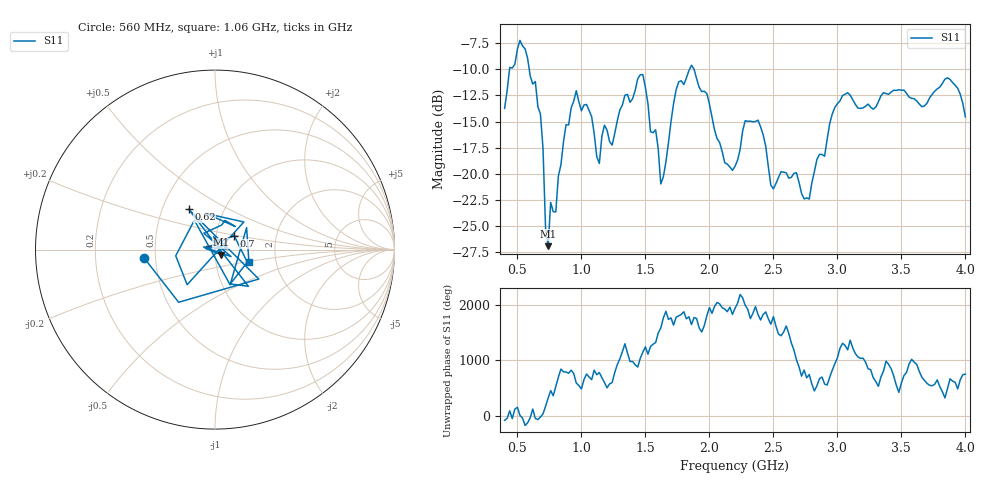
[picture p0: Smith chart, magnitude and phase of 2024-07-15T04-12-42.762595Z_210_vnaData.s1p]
!Created with skrf (http://scikit-rf.org).
# Hz S RI R 50.0
!freq ReS11 ImS11
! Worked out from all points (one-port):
!   181 points, 400 MHz to 4 GHz, reference 50 ohm
!   lowest |S11| = -27.0 dB at 740 MHz (marker M1), VSWR 1.09, Z = 53.5 - j3.03 ohm
!   |S11| at or under -10 dB: start of sweep to 438.3 MHz; 592.5 MHz to 1.845 GHz (1.252 GHz wide, 103 % of centre); 1.88 GHz to end of sweep
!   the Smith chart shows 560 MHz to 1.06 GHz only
!   S11 on the Smith chart (normalised r, x): 560 MHz: 0.43, -0.05; 620 MHz: 0.68, +0.33; 700 MHz: 1.22, +0.19; 1.06 GHz: 1.45, -0.20
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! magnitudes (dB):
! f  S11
! 400 MHz  -13.7
! 440 MHz  -9.8
! 560 MHz  -8.0
! 620 MHz  -11.4
! 700 MHz  -17.6
! 720 MHz  -25.2
! 740 MHz  -27.0
! 760 MHz  -22.8
! 800 MHz  -23.7
! 860 MHz  -17.0
! 960 MHz  -12.0
! 1.06 GHz  -14.0
! 1.14 GHz  -19.0
! 1.3 GHz  -13.9
! 1.48 GHz  -10.5
! 1.62 GHz  -21.0
! 1.76 GHz  -11.2
! 1.86 GHz  -9.6
! 2.2 GHz  -19.3
! 2.38 GHz  -14.9
! 2.48 GHz  -21.1
! 2.66 GHz  -20.0
! 2.78 GHz  -22.4
! 2.98 GHz  -13.7
! 3.1 GHz  -12.5
! 3.56 GHz  -12.7
! 3.86 GHz  -10.8
! 4 GHz  -14.6
